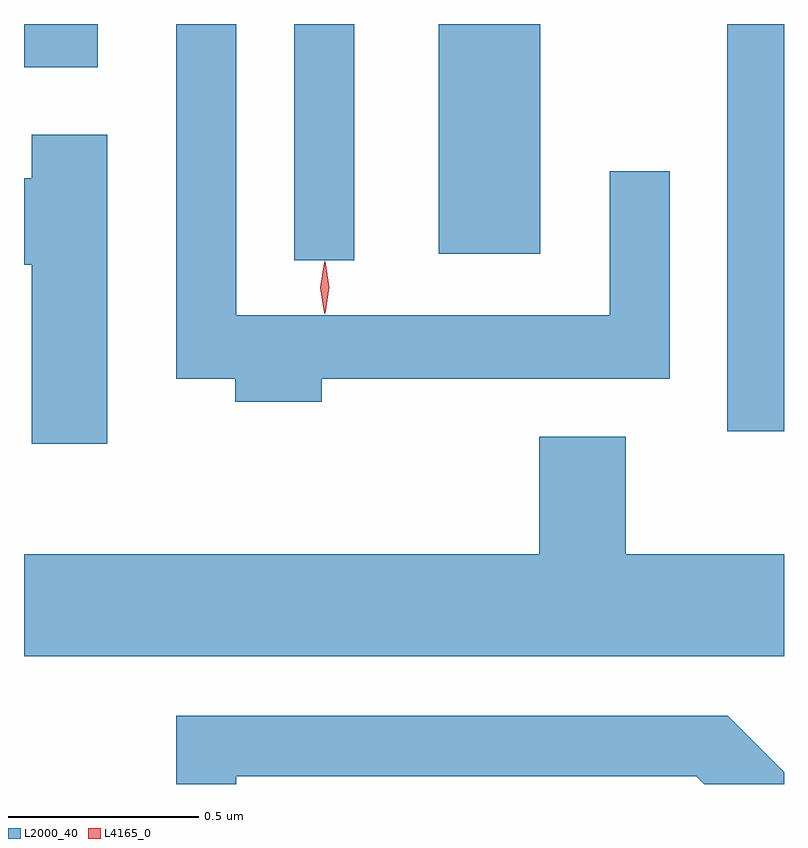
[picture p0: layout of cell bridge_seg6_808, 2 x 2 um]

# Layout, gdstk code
import gdstk
lib = gdstk.Library(unit=1e-6, precision=1e-09)
def R(c, l, rs):  # rectangles x0, y0, x1, y1
    for r in rs: c.add(gdstk.rectangle(r[:2], r[2:], *l))
def P(c, l, *ps):  # polygons
    for p in ps: c.add(gdstk.Polygon(p, *l))
L2000_40 = (2000, 40)
L4165_0 = (4165, 0)

bridge_seg6_808 = lib.new_cell('bridge_seg6_808')
R(bridge_seg6_808, L2000_40, [(453.186,1583.928,453.335,1585), (452.046,1584.378,452.204,1585), (452.426,1584.396,452.694,1585), (451.335,1584.886,451.529,1585)])
P(bridge_seg6_808, L2000_40, [(452.119,1584.066),(453.034,1584.066),(453.034,1584.613),(452.876,1584.613),(452.876,1584.234),(451.894,1584.234),(451.894,1585),(451.736,1585),(451.736,1584.066),(451.891,1584.066),(451.891,1584.006),(452.119,1584.006)],
  [(451.554,1584.709),(451.356,1584.709),(451.356,1584.594),(451.335,1584.594),(451.335,1584.366),(451.356,1584.366),(451.356,1583.896),(451.554,1583.896)],
  [(453.335,1583.604),(452.919,1583.604),(452.919,1583.914),(452.691,1583.914),(452.691,1583.604),(451.335,1583.604),(451.335,1583.336),(453.335,1583.336)],
  [(451.894,1583.021),(453.104,1583.021),(453.125,1583),(453.335,1583),(453.335,1583.031),(453.187,1583.179),(451.736,1583.179),(451.736,1583),(451.894,1583)])
P(bridge_seg6_808, L4165_0, [(452.127,1584.237),(452.118,1584.307),(452.127,1584.376),(452.128,1584.376),(452.128,1584.376),(452.138,1584.307),(452.128,1584.237),(452.128,1584.237)],
  [(452.125,1584.24),(452.125,1584.24),(452.115,1584.306),(452.125,1584.372),(452.125,1584.373),(452.126,1584.372),(452.135,1584.306),(452.126,1584.24)])

lib.write_gds('bridge_seg6_808.gds')
